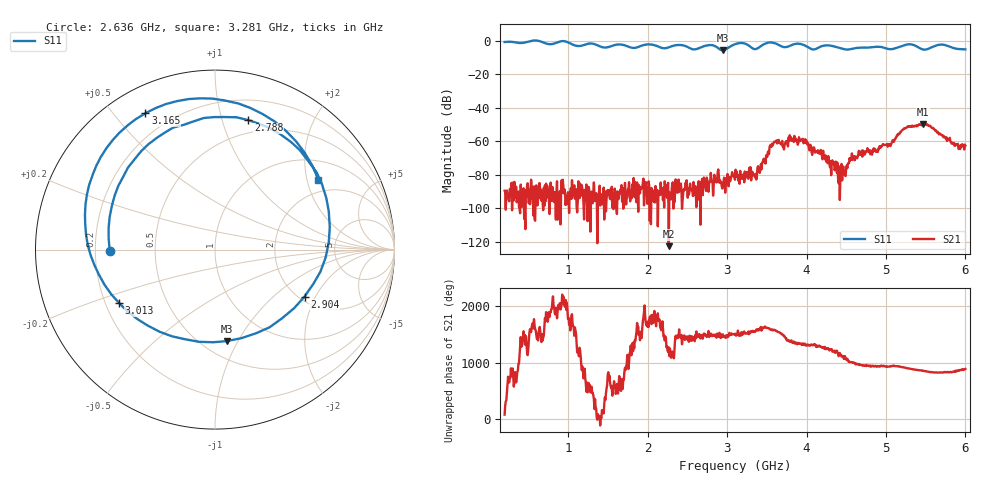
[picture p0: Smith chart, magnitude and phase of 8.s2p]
! NanoVNA-App
! Date: 2024-06-25 16:06:25
! Start: 200MHz Stop: 6GHz Points: 801
! S-Parameter data: F S11 S21 S12 S22
# Hz S RI R 50
!  Frequency  S11_Real  S11_Imag  S21_Real  S21_Imag  S12_Real  S12_Imag  S22_Real  S22_Imag
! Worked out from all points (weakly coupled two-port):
!   801 points, 200 MHz to 6 GHz, reference 50 ohm
!   highest |S21| = -49.85 dB at 5.471 GHz (marker M1); lowest = -122.8 dB at 2.266 GHz (marker M2)
!   lowest |S11| = -5.8 dB at 2.948 GHz (marker M3), VSWR 3.12, Z = 32.5 - j45.1 ohm
!   |S11| at or under -10 dB: nowhere
!   S12 and S22 are empty: the file has one direction only
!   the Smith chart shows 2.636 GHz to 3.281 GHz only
!   S11 on the Smith chart (normalised r, x): 2.636 GHz: 0.26, -0.01; 2.788 GHz: 0.38, +1.22; 2.904 GHz: 2.13, -1.64; 3.013 GHz: 0.26, -0.24; 3.165 GHz: 0.11, +0.61; 3.281 GHz: 1.57, +2.35
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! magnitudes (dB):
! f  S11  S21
! 200 MHz  -0.8  -89.6
! 1.171 GHz  -2.9  -86.3
! 2.136 GHz  -3.5  -90.5
! 2.266 GHz  -3.9  -122.8
! 2.636 GHz  -4.6  -85.7
! 2.788 GHz  -2.6  -84.0
! 2.904 GHz  -5.0  -84.8
! 2.948 GHz  -5.8  -86.5
! 3.013 GHz  -4.3  -82.1
! 3.1 GHz  -2.1  -83.1
! 3.165 GHz  -1.4  -77.8
! 3.281 GHz  -3.2  -75.9
! 3.39 GHz  -4.4  -75.0
! 3.622 GHz  -1.8  -59.6
! 3.934 GHz  -2.0  -59.6
! 4.072 GHz  -5.1  -68.2
! 4.427 GHz  -4.4  -80.4
! 4.572 GHz  -4.8  -67.4
! 5.036 GHz  -5.0  -61.8
! 5.239 GHz  -2.6  -52.4
! 5.471 GHz  -5.3  -49.8
! 6 GHz  -5.2  -62.7
